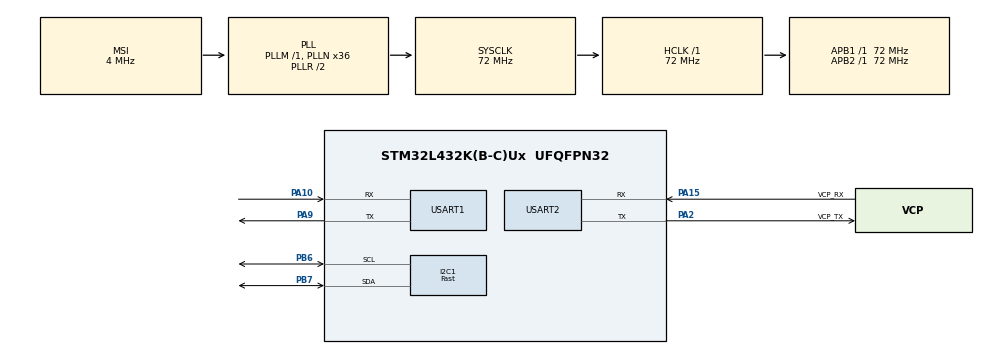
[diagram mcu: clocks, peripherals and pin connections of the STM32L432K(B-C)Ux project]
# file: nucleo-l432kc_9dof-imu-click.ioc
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Dma.Request0=USART1_RX
Dma.USART1_RX.0.Direction=DMA_PERIPH_TO_MEMORY
Dma.USART1_RX.0.Instance=DMA1_Channel5
Dma.USART1_RX.0.MemDataAlignment=DMA_MDATAALIGN_BYTE
Dma.USART1_RX.0.MemInc=DMA_MINC_ENABLE
Dma.USART1_RX.0.Mode=DMA_CIRCULAR
Dma.USART1_RX.0.PeriphDataAlignment=DMA_PDATAALIGN_BYTE
Dma.USART1_RX.0.PeriphInc=DMA_PINC_DISABLE
Dma.USART1_RX.0.Priority=DMA_PRIORITY_LOW
FREERTOS.Queues01=reportDataQueue,64,uint16_t,0,Dynamic,NULL,NULL
FREERTOS.Tasks01=readDataTask,24,512,StartReadDataTask,Default,NULL,Dynamic,NULL,NULL;sendDataTask,24,512,startSendDataTask,Default,NULL,Dynamic,NULL,NULL;startWifiClickT,24,256,_startWifiClickTask,Default,NULL,Dynamic,NULL,NULL
FREERTOS.configMINIMAL_STACK_SIZE=256
FREERTOS.configTIMER_TASK_PRIORITY=5
FREERTOS.configTOTAL_HEAP_SIZE=10000
FREERTOS.configUSE_NEWLIB_REENTRANT=1
I2C1.I2C_Speed_Mode=I2C_Fast
I2C1.Timing=0x00702681
Mcu.Family=STM32L4
Mcu.Name=STM32L432K(B-C)Ux
Mcu.Package=UFQFPN32
NVIC.DMA1_Channel5_IRQn=true\:5\:0\:true\:false\:true\:true\:false\:true\:true
NVIC.PriorityGroup=NVIC_PRIORITYGROUP_4
NVIC.TIM1_UP_TIM16_IRQn=true\:15\:0\:false\:false\:true\:false\:false\:true\:true
NVIC.TimeBase=TIM1_UP_TIM16_IRQn
NVIC.TimeBaseIP=TIM16
NVIC.USART1_IRQn=true\:5\:0\:true\:false\:true\:true\:true\:true\:true
NVIC.USART2_IRQn=true\:5\:0\:false\:false\:true\:true\:true\:true\:true
PA0.GPIO_Label=MCO [High speed clock in]
PA0.Mode=HSE-External-Clock-Source-for-LittleOrca
PA0.Signal=RCC_CK_IN
PA10.Mode=Asynchronous
PA10.Signal=USART1_RX
PA13\ (JTMS-SWDIO).GPIO_Label=SWDIO
PA13\ (JTMS-SWDIO).Mode=Serial_Wire
PA13\ (JTMS-SWDIO).Signal=SYS_JTMS-SWDIO
PA14\ (JTCK-SWCLK).GPIO_Label=SWCLK
PA14\ (JTCK-SWCLK).Mode=Serial_Wire
PA14\ (JTCK-SWCLK).Signal=SYS_JTCK-SWCLK
PA15\ (JTDI).GPIO_Label=VCP_RX
PA15\ (JTDI).Mode=Asynchronous
PA15\ (JTDI).Signal=USART2_RX
PA2.GPIO_Label=VCP_TX
PA2.Mode=Asynchronous
PA2.Signal=USART2_TX
PA9.Mode=Asynchronous
PA9.Signal=USART1_TX
PB6.Mode=I2C
PB6.Signal=I2C1_SCL
PB7.Mode=I2C
PB7.Signal=I2C1_SDA
PC14-OSC32_IN\ (PC14).Mode=LSE-External-Oscillator
PC14-OSC32_IN\ (PC14).Signal=RCC_OSC32_IN
PC15-OSC32_OUT\ (PC15).Mode=LSE-External-Oscillator
PC15-OSC32_OUT\ (PC15).Signal=RCC_OSC32_OUT
ProjectManager.HeapSize=0x200
ProjectManager.StackSize=0x400
ProjectManager.TargetToolchain=STM32CubeIDE
RCC.AHBFreq_Value=72000000
RCC.APB1Freq_Value=72000000
RCC.APB1TimFreq_Value=72000000
RCC.APB2Freq_Value=72000000
RCC.APB2TimFreq_Value=72000000
RCC.CortexFreq_Value=72000000
RCC.HCLKFreq_Value=72000000
RCC.HSE_VALUE=8000000
RCC.HSI16_VALUE=16000000
RCC.HSI48_VALUE=48000000
RCC.HSI_VALUE=16000000
RCC.MSI_VALUE=4000000
RCC.PLLMUL=RCC_PLLMUL_4
RCC.PLLN=36
RCC.SYSCLKFreq_VALUE=72000000
RCC.SYSCLKSource=RCC_SYSCLKSOURCE_PLLCLK
RCC.VCOOutputFreq_Value=144000000
USART1.VirtualMode-Asynchronous=VM_ASYNC
USART2.VirtualMode-Asynchronous=VM_ASYNC
VP_FREERTOS_VS_CMSIS_V2.Mode=CMSIS_V2
VP_SYS_VS_tim16.Mode=TIM16
board=NUCLEO-L432KC

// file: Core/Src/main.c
/* USER CODE BEGIN Header */
/**
  ******************************************************************************
  * @file           : main.c
  * @brief          : Main program body
  ******************************************************************************
  * @attention
  *
  * Copyright (c) 2023 STMicroelectronics.
  * All rights reserved.
  *
  * This software is licensed under terms that can be found in the LICENSE file
  * in the root directory of this software component.
  * If no LICENSE file comes with this software, it is provided AS-IS.
  *
  ******************************************************************************
  */
/* USER CODE END Header */
#include "main.h"
#include "cmsis_os.h"
#include "dma.h"
#include "i2c.h"
#include "usart.h"
#include "gpio.h"

void SystemClock_Config(void);
void MX_FREERTOS_Init(void);

int main(void)
{

  /* MCU Configuration--------------------------------------------------------*/

  /* Reset of all peripherals, Initializes the Flash interface and the Systick. */
  HAL_Init();

  /* Configure the system clock */
  SystemClock_Config();

  /* Initialize all configured peripherals */
  MX_GPIO_Init();
  MX_DMA_Init();
  MX_USART2_UART_Init();
  MX_I2C1_Init();
  MX_USART1_UART_Init();

  /* Init scheduler */
  osKernelInitialize();  /* Call init function for freertos objects (in freertos.c) */
  MX_FREERTOS_Init();

  /* Start scheduler */
  osKernelStart();
  /* We should never get here as control is now taken by the scheduler */
  /* Infinite loop */
  while (1)
  {

  }
}

/**

@brief Configures the system clock.
This function configures the main internal regulator output voltage and sets up the RCC oscillator and clock structure.
It utilizes the RCC_OscInitTypeDef and RCC_ClkInitStruct structures to configure the system clock.
If the voltage scaling configuration fails, it calls the Error_Handler() function.
*/

void SystemClock_Config(void)
{
  RCC_OscInitTypeDef RCC_OscInitStruct = {0};
  RCC_ClkInitTypeDef RCC_ClkInitStruct = {0};

  if (HAL_PWREx_ControlVoltageScaling(PWR_REGULATOR_VOLTAGE_SCALE1) != HAL_OK)
  {
    Error_Handler();
  }

/**
 * @brief Configure LSE Drive Capability
 */

  HAL_PWR_EnableBkUpAccess();
  __HAL_RCC_LSEDRIVE_CONFIG(RCC_LSEDRIVE_LOW);

/**
 * @brief Initializes the RCC Oscillators according to the specified parameters
 * in the RCC_OscInitTypeDef structure.
 */

  RCC_OscInitStruct.OscillatorType = RCC_OSCILLATORTYPE_LSE|RCC_OSCILLATORTYPE_MSI;
  RCC_OscInitStruct.LSEState = RCC_LSE_ON;
  RCC_OscInitStruct.MSIState = RCC_MSI_ON;
  RCC_OscInitStruct.MSICalibrationValue = 0;
  RCC_OscInitStruct.MSIClockRange = RCC_MSIRANGE_6;
  RCC_OscInitStruct.PLL.PLLState = RCC_PLL_ON;
  RCC_OscInitStruct.PLL.PLLSource = RCC_PLLSOURCE_MSI;
  RCC_OscInitStruct.PLL.PLLM = 1;
  RCC_OscInitStruct.PLL.PLLN = 36;
  RCC_OscInitStruct.PLL.PLLP = RCC_PLLP_DIV7;
  RCC_OscInitStruct.PLL.PLLQ = RCC_PLLQ_DIV2;
  RCC_OscInitStruct.PLL.PLLR = RCC_PLLR_DIV2;
  if (HAL_RCC_OscConfig(&RCC_OscInitStruct) != HAL_OK)
  {
    Error_Handler();
  }

/**
 * @brief Initializes the CPU, AHB and APB buses clocks
 */

  RCC_ClkInitStruct.ClockType = RCC_CLOCKTYPE_HCLK|RCC_CLOCKTYPE_SYSCLK
                              |RCC_CLOCKTYPE_PCLK1|RCC_CLOCKTYPE_PCLK2;
  RCC_ClkInitStruct.SYSCLKSource = RCC_SYSCLKSOURCE_PLLCLK;
  RCC_ClkInitStruct.AHBCLKDivider = RCC_SYSCLK_DIV1;
  RCC_ClkInitStruct.APB1CLKDivider = RCC_HCLK_DIV1;
  RCC_ClkInitStruct.APB2CLKDivider = RCC_HCLK_DIV1;

  if (HAL_RCC_ClockConfig(&RCC_ClkInitStruct, FLASH_LATENCY_4) != HAL_OK)
  {
    Error_Handler();
  }

  /**
 * @brief Enable MSI Auto calibration
 */

  HAL_RCCEx_EnableMSIPLLMode();
}

void HAL_TIM_PeriodElapsedCallback(TIM_HandleTypeDef *htim)
{
  if (htim->Instance == TIM16) {
    HAL_IncTick();
  }
}

void Error_Handler(void)
{
  __disable_irq();
  while (1)
  {
  }
}

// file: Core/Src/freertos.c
/* USER CODE BEGIN Header */
/**
  ******************************************************************************
  * File Name          : freertos.c
  * Description        : Code for freertos applications
  ******************************************************************************
  * @attention
  *
  * Copyright (c) 2023 STMicroelectronics.
  * All rights reserved.
  *
  * This software is licensed under terms that can be found in the LICENSE file
  * in the root directory of this software component.
  * If no LICENSE file comes with this software, it is provided AS-IS.
  *
  ******************************************************************************
  */
/* USER CODE END Header */

#include "FreeRTOS.h"
#include "task.h"
#include "main.h"
#include "cmsis_os.h"

/* USER CODE BEGIN Includes */
#include "mpu9dof.h"
#include "wifiClick.h"
#include "ATcommands.h"

/* USER CODE END Includes */

/* USER CODE BEGIN PD */

#define NDEBUG

/* USER CODE END PD */

/* USER CODE BEGIN Variables */

const uint8_t GYRO = 1;
const uint8_t ACCEL = 2;
const uint8_t RAW = 1;
const uint8_t PROCESSED = 2;

/* USER CODE END Variables */
/* Definitions for readDataTask */
osThreadId_t readDataTaskHandle;
const osThreadAttr_t readDataTask_attributes = {
  .name = "readDataTask",
  .stack_size = 512 * 4,
  .priority = (osPriority_t) osPriorityNormal,
};
/* Definitions for sendDataTask */
osThreadId_t sendDataTaskHandle;
const osThreadAttr_t sendDataTask_attributes = {
  .name = "sendDataTask",
  .stack_size = 512 * 4,
  .priority = (osPriority_t) osPriorityNormal,
};
/* Definitions for startWifiClickT */
osThreadId_t startWifiClickTHandle;
const osThreadAttr_t startWifiClickT_attributes = {
  .name = "startWifiClickT",
  .stack_size = 256 * 4,
  .priority = (osPriority_t) osPriorityNormal,
};
/* Definitions for reportDataQueue */
osMessageQueueId_t reportDataQueueHandle;
const osMessageQueueAttr_t reportDataQueue_attributes = {
  .name = "reportDataQueue"
};

void StartReadDataTask(void *argument);
void startSendDataTask(void *argument);
void _startWifiClickTask(void *argument);

void MX_FREERTOS_Init(void); /* (MISRA C 2004 rule 8.1) */

void MX_FREERTOS_Init(void) {

  /* Create the queue(s) */
  /* creation of reportDataQueue */
  reportDataQueueHandle = osMessageQueueNew (64, sizeof(uint16_t), &reportDataQueue_attributes);

  /* Create the thread(s) */
  /* creation of readDataTask */
  //readDataTaskHandle = osThreadNew(StartReadDataTask, NULL, &readDataTask_attributes);

  /* creation of sendDataTask */
  //sendDataTaskHandle = osThreadNew(startSendDataTask, NULL, &sendDataTask_attributes);

  /* creation of startWifiClickT */
  startWifiClickTHandle = osThreadNew(_startWifiClickTask, NULL, &startWifiClickT_attributes);

}

void StartReadDataTask(void *argument)
{
  /* USER CODE BEGIN StartReadDataTask */
	printf("***------------- 9 DOF IMU Click ------------***\r\n");

    /* config the 9dof module */
    mpu9dof_default_cfg();

    /* calibrate the module */
    mpu9dof_calibrate_module();

    ReportData *data;

  /* Infinite loop */
  for(;;)
  {
	  /* read the gyro and accel values */
	  mpu9dof_read(&GYRO);
	  mpu9dof_read(&ACCEL);

	  /* dave the processed sensor data */
	  data = (ReportData *) mpu9dof_process();

	  /* report the data to the sending task */
	  osMessageQueuePut(reportDataQueueHandle, &data, 0U, 0U);

	  osDelay(30);
  }
  /* USER CODE END StartReadDataTask */
}

void startSendDataTask(void *argument)
{
  /* USER CODE BEGIN startSendDataTask */
	char at_cmd_buffer[AT_CMD_BUFFER_SIZE] = {0};
	/* transfer interval in ms */
	/* if transfer interval is smaller than sensor data rate, the que is blocking */
#ifdef NDEBUG
	const uint8_t RAW_DATA = 1;
	const uint8_t OFFSET_VALUES = 2;
	const uint8_t CALIBRATED_VALUES = 3;
	const uint8_t PROCESSED_DATA = 4;
#endif

	const uint8_t TRANSFER_INTERVAL = 100;

	ReportData data;

  for(;;)
  {
	if(osMessageQueueGet(reportDataQueueHandle, &data, 0U, 0U) == osOK)
	{
		/* CALL THE TRANSMIT TO RASPBY FUNCTION HERE */

#ifdef NDEBUG
	  /* delete logging for final version */
	  mpu9dof_log_data(&PROCESSED_DATA);
#endif

	} else {
		osThreadYield();
	}

    osDelay(TRANSFER_INTERVAL);
  }
  /* USER CODE END startSendDataTask */
}

void _startWifiClickTask(void *argument)
{
  /* USER CODE BEGIN _startWifiClickTask */
	StartWifiClick(argument);
	osThreadExit();
  /* USER CODE END _startWifiClickTask */
}
